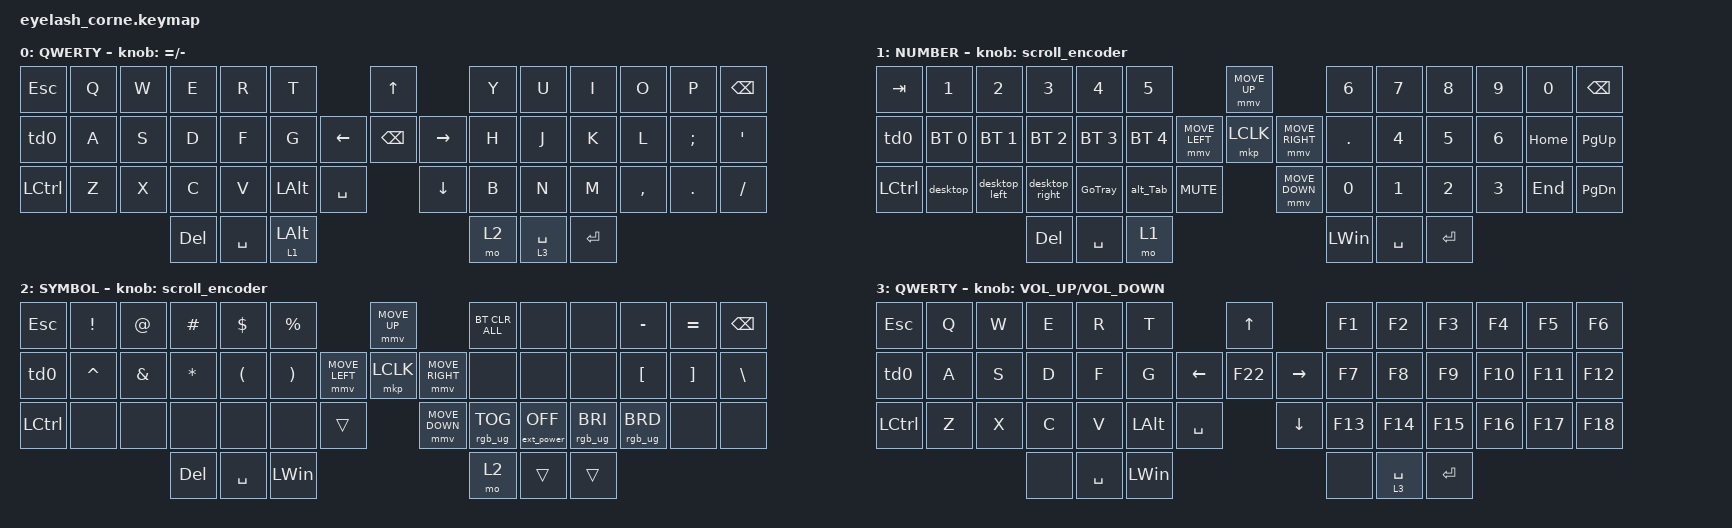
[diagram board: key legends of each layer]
#include <dt-bindings/zmk/mouse.h>
#include <input/processors.dtsi>
#include <behaviors.dtsi>
#include <dt-bindings/zmk/bt.h>
#include <dt-bindings/zmk/ext_power.h>
#include <dt-bindings/zmk/keys.h>
#include <dt-bindings/zmk/pointing.h>
#include <dt-bindings/zmk/pointing.h>
#include <dt-bindings/zmk/pointing.h>
#include <dt-bindings/zmk/rgb.h>

/*

   &mmv_input_listener {
       input-processors = <&zip_xy_scaler 2 1>;
   };

   &msc_input_listener {
       input-processors = <&zip_xy_scaler 2 1>;
   };

 */

#define ZMK_MOUSE_DEFAULT_MOVE_VAL 1200  // 600
#define ZMK_MOUSE_DEFAULT_SCRL_VAL 20    // 10

/ {
    behaviors {
        td0: td0 {
            compatible = "zmk,behavior-tap-dance";
            display-name = "Shift/Caps Lock Tap Dance";
            #binding-cells = <0>;
            bindings = <&kp LEFT_SHIFT>, <&kp CAPS>;
        };
    };

    rgb_encoder: rgb_encoder {
        compatible = "zmk,behavior-sensor-rotate";
        #sensor-binding-cells = <0>;
        bindings = <&rgb_ug RGB_BRI>, <&rgb_ug RGB_BRD>;
    };

    scroll_encoder: scroll_encoder {
        compatible = "zmk,behavior-sensor-rotate";
        #sensor-binding-cells = <0>;
        bindings = <&msc SCRL_DOWN>, <&msc SCRL_UP>;

        tap-ms = <30>;
    };

    macros {
        alt_Tab: alt_Tab {
            compatible = "zmk,behavior-macro";
            #binding-cells = <0>;
            bindings =
                <&macro_press>,
                <&kp LALT &kp LCTRL>,
                <&macro_tap>,
                <&kp TAB>,
                <&macro_release>,
                <&kp LALT &kp LCTRL>;

            label = "ALT_TAB";
        };

        GoTray: new_desktop {
            compatible = "zmk,behavior-macro";
            #binding-cells = <0>;
            bindings =
                <&macro_press>,
                <&kp LEFT_WIN>,
                <&macro_tap>,
                <&kp B>,
                <&macro_release>,
                <&kp LWIN>;

            label = "NEW_DESKTOP";
        };

        desktop_left: desktop_left {
            compatible = "zmk,behavior-macro";
            #binding-cells = <0>;
            bindings =
                <&macro_press>,
                <&kp LCTRL &kp LWIN>,
                <&macro_tap>,
                <&kp LEFT>,
                <&macro_release>,
                <&kp LCTRL &kp LWIN>;

            label = "DESKTOP_LEFT";
        };

        desktop_right: desktop_right {
            compatible = "zmk,behavior-macro";
            #binding-cells = <0>;
            bindings =
                <&macro_press>,
                <&kp LCTRL &kp LWIN>,
                <&macro_tap>,
                <&kp RIGHT>,
                <&macro_release>,
                <&kp LCTRL &kp LWIN>;

            label = "DESKTOP_RIGHT";
        };

        desktop: desktop {
            compatible = "zmk,behavior-macro";
            #binding-cells = <0>;
            bindings =
                <&macro_press>,
                <&kp LWIN>,
                <&macro_tap>,
                <&kp TAB>,
                <&macro_release>,
                <&kp LWIN>;

            label = "DESKTOP";
        };
    };

    keymap {
        compatible = "zmk,keymap";

        default_layer {
            display-name = "QWERTY";
            bindings = <
&kp ESC    &kp Q  &kp W  &kp E    &kp R      &kp T                                  &kp UP                    &kp Y  &kp U        &kp I      &kp O      &kp P       &kp BSPC
&td0       &kp A  &kp S  &kp D    &kp F      &kp G                        &kp LEFT  &kp BACKSPACE  &kp RIGHT  &kp H  &kp J        &kp K      &kp L      &kp SEMI    &kp SQT
&kp LCTRL  &kp Z  &kp X  &kp C    &kp V      &kp LEFT_ALT    &kp SPACE              &kp DOWN                  &kp B  &kp N        &kp M      &kp COMMA  &kp PERIOD  &kp SLASH
                         &kp DEL  &kp SPACE  &lt 1 LEFT_ALT                                                   &mo 2  &lt 3 SPACE  &kp ENTER
            >;

            sensor-bindings = <&inc_dec_kp EQUAL MINUS>;
        };

        lower_layer {
            display-name = "NUMBER";
            bindings = <
&kp TAB    &kp N1        &kp N2         &kp N3          &kp N4        &kp N5                                      &mmv MOVE_UP                     &kp N6        &kp N7     &kp N8     &kp N9  &kp N0    &kp BSPC
&td0       &bt BT_SEL 0  &bt BT_SEL 1   &bt BT_SEL 2    &bt BT_SEL 3  &bt BT_SEL 4                &mmv MOVE_LEFT  &mkp LCLK       &mmv MOVE_RIGHT  &kp DOT       &kp N4     &kp N5     &kp N6  &kp HOME  &kp PG_UP
&kp LCTRL  &desktop      &desktop_left  &desktop_right  &GoTray       &alt_Tab      &kp C_MUTE                    &mmv MOVE_DOWN                   &kp N0        &kp N1     &kp N2     &kp N3  &kp END   &kp PG_DN
                                        &kp DEL         &kp SPACE     &mo 1                                                                        &kp LEFT_WIN  &kp SPACE  &kp ENTER
            >;

            sensor-bindings = <&scroll_encoder>;
        };

        raise_layer {
            display-name = "SYMBOL";
            bindings = <
&kp ESC    &kp EXCL   &kp AT    &kp HASH   &kp DLLR   &kp PRCNT                               &mmv MOVE_UP                     &bt BT_CLR_ALL   &none              &none            &kp MINUS        &kp EQUAL  &kp BSPC
&td0       &kp CARET  &kp AMPS  &kp ASTRK  &kp LPAR   &kp RPAR                &mmv MOVE_LEFT  &mkp LCLK       &mmv MOVE_RIGHT  &none            &none              &none            &kp LBKT         &kp RBKT   &kp BACKSLASH
&kp LCTRL  &none      &none     &none      &none      &none         &trans                    &mmv MOVE_DOWN                   &rgb_ug RGB_TOG  &ext_power EP_OFF  &rgb_ug RGB_BRI  &rgb_ug RGB_BRD  &none      &none
                                &kp DEL    &kp SPACE  &kp LEFT_WIN                                                             &mo 2            &trans             &trans
            >;

            sensor-bindings = <&scroll_encoder>;
        };

        layer_3 {
            display-name = "QWERTY";
            bindings = <
&kp ESC    &kp Q  &kp W  &kp E  &kp R      &kp T                                &kp UP               &kp F1   &kp F2       &kp F3     &kp F4   &kp F5   &kp F6
&td0       &kp A  &kp S  &kp D  &kp F      &kp G                      &kp LEFT  &kp F22   &kp RIGHT  &kp F7   &kp F8       &kp F9     &kp F10  &kp F11  &kp F12
&kp LCTRL  &kp Z  &kp X  &kp C  &kp V      &kp LEFT_ALT  &kp SPACE              &kp DOWN             &kp F13  &kp F14      &kp F15    &kp F16  &kp F17  &kp F18
                         &none  &kp SPACE  &kp LEFT_WIN                                              &none    &lt 3 SPACE  &kp ENTER
            >;

            sensor-bindings = <&inc_dec_kp C_VOLUME_UP C_VOLUME_DOWN>;
        };
    };
};
